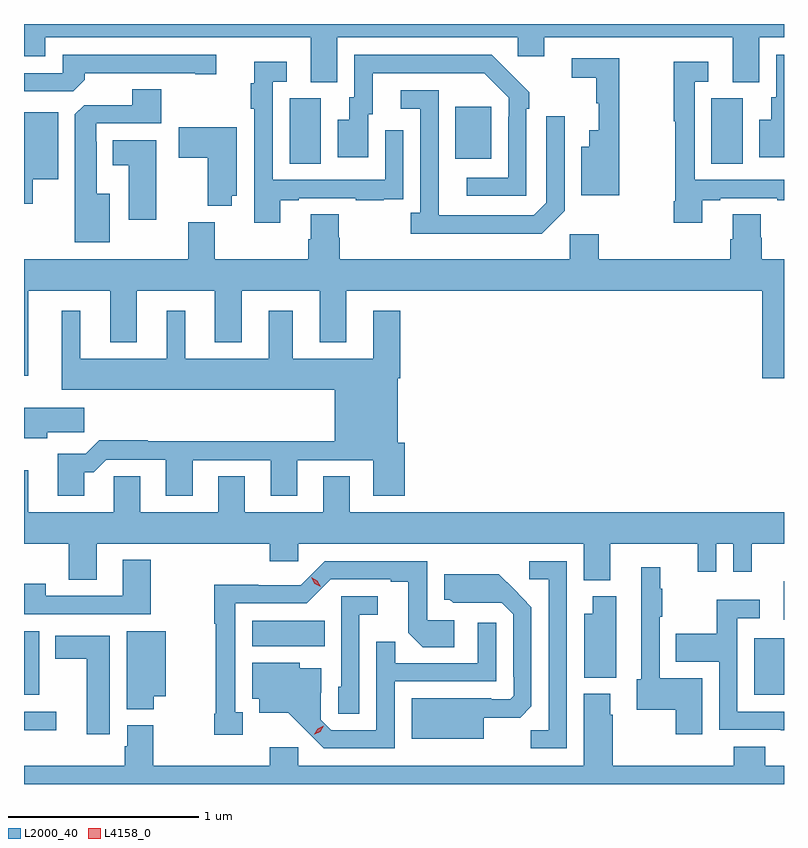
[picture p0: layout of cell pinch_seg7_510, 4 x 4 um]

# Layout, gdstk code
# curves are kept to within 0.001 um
import gdstk
lib = gdstk.Library(unit=1e-6, precision=1e-09)
def R(c, l, rs):  # rectangles x0, y0, x1, y1
    for r in rs: c.add(gdstk.rectangle(r[:2], r[2:], *l))
def P(c, l, *ps):  # polygons
    for p in ps: c.add(gdstk.Polygon(p, *l))
L2000_40 = (2000, 40)
L4158_0 = (4158, 0)

pinch_seg7_510 = lib.new_cell('pinch_seg7_510')
R(pinch_seg7_510, L2000_40, [(131.066,1060.907,131.236,1061.004), (131.066,1061.093,131.146,1061.428), (134.909,1061.093,135.066,1061.389), (132.266,1061.348,132.65,1061.482), (135.065,1061.487,135.066,1061.689), (132.464,1063.888,132.628,1064.232), (134.684,1063.888,134.848,1064.232), (133.337,1063.913,133.525,1064.188)])
P(pinch_seg7_510, L2000_40, [(132.715,1064.552),(133.665,1064.552),(133.665,1064.454),(133.804,1064.454),(133.804,1064.552),(134.795,1064.552),(134.795,1064.317),(134.935,1064.317),(134.935,1064.552),(135.066,1064.552),(135.066,1064.623),(131.066,1064.623),(131.066,1064.453),(131.179,1064.453),(131.179,1064.552),(132.575,1064.552),(132.575,1064.317),(132.715,1064.317)],
  [(131.387,1064.33),(131.387,1064.364),(131.966,1064.364),(131.966,1064.359),(132.079,1064.359),(132.079,1064.46),(131.271,1064.46),(131.271,1064.364),(131.066,1064.364),(131.066,1064.268),(131.325,1064.268)],
  [(135.066,1064.46),(135.024,1064.46),(135.024,1064.238),(134.999,1064.238),(134.999,1064.119),(134.936,1064.119),(134.936,1063.923),(135.066,1063.923)],
  [(133.71,1064.177),(133.725,1064.177),(133.725,1064.265),(133.528,1064.46),(132.804,1064.46),(132.804,1064.238),(132.779,1064.238),(132.779,1064.119),(132.716,1064.119),(132.716,1063.923),(132.877,1063.923),(132.877,1064.148),(132.901,1064.148),(132.901,1064.364),(133.489,1064.364),(133.617,1064.235),(133.617,1064.135),(133.614,1064.135),(133.614,1063.815),(133.395,1063.815),(133.395,1063.719),(133.71,1063.719)],
  [(134.2,1064.442),(133.95,1064.442),(133.95,1064.341),(134.079,1064.341),(134.079,1064.205),(134.09,1064.205),(134.09,1064.065),(134.042,1064.065),(134.042,1063.978),(134,1063.978),(134,1063.721),(134.2,1063.721)],
  [(132.415,1063.695),(132.511,1063.695),(132.511,1063.707),(132.811,1063.707),(132.811,1063.695),(132.959,1063.695),(132.959,1063.701),(133.061,1063.701),(133.061,1063.81),(133.062,1063.81),(133.062,1064.065),(132.966,1064.065),(132.966,1063.803),(132.375,1063.803),(132.375,1064.319),(132.448,1064.319),(132.448,1064.425),(132.278,1064.425),(132.278,1064.312),(132.259,1064.312),(132.259,1064.176),(132.279,1064.176),(132.279,1063.578),(132.415,1063.578)],
  [(134.635,1063.695),(134.731,1063.695),(134.731,1063.707),(135.031,1063.707),(135.031,1063.695),(135.066,1063.695),(135.066,1063.803),(134.595,1063.803),(134.595,1064.319),(134.668,1064.319),(134.668,1064.425),(134.487,1064.425),(134.487,1064.112),(134.494,1064.112),(134.494,1063.69),(134.486,1063.69),(134.486,1063.578),(134.635,1063.578)],
  [(131.518,1063.729),(131.449,1063.729),(131.449,1064.003),(131.445,1064.003),(131.445,1064.1),(131.789,1064.1),(131.789,1064.279),(131.636,1064.279),(131.636,1064.196),(131.382,1064.196),(131.333,1064.147),(131.333,1063.475),(131.518,1063.475)],
  [(133.911,1063.641),(133.911,1064.137),(133.815,1064.137),(133.815,1063.683),(133.749,1063.617),(133.249,1063.617),(133.248,1064.274),(133.05,1064.274),(133.05,1064.178),(133.152,1064.178),(133.152,1063.63),(133.101,1063.63),(133.101,1063.52),(133.79,1063.52)],
  [(131.113,1063.805),(131.245,1063.805),(131.245,1064.158),(131.066,1064.158),(131.066,1063.677),(131.113,1063.677)],
  [(132.16,1063.719),(132.187,1063.719),(132.187,1064.08),(131.88,1064.08),(131.88,1063.918),(132.032,1063.918),(132.032,1063.667),(132.16,1063.667)],
  [(131.761,1064.011),(131.534,1064.011),(131.534,1063.88),(131.618,1063.88),(131.618,1063.593),(131.761,1063.593)],
  [(135.066,1063.384),(134.948,1063.384),(134.948,1063.497),(134.943,1063.497),(134.943,1063.622),(134.795,1063.622),(134.795,1063.49),(134.783,1063.49),(134.783,1063.384),(134.09,1063.384),(134.09,1063.516),(133.938,1063.516),(133.938,1063.384),(132.728,1063.384),(132.728,1063.497),(132.723,1063.497),(132.723,1063.622),(132.575,1063.622),(132.575,1063.49),(132.563,1063.49),(132.563,1063.384),(132.07,1063.384),(132.07,1063.579),(131.93,1063.579),(131.93,1063.384),(131.066,1063.384),(131.066,1062.771),(131.089,1062.771),(131.089,1063.22),(131.519,1063.22),(131.519,1062.947),(131.659,1062.947),(131.659,1063.22),(132.071,1063.22),(132.071,1062.947),(132.211,1062.947),(132.211,1063.22),(132.623,1063.22),(132.623,1062.947),(132.763,1062.947),(132.763,1063.22),(134.951,1063.22),(134.951,1062.759),(135.066,1062.759)],
  [(131.383,1062.263),(131.432,1062.263),(131.499,1062.33),(131.813,1062.33),(131.813,1062.141),(131.953,1062.141),(131.953,1062.327),(132.365,1062.327),(132.365,1062.141),(132.505,1062.141),(132.505,1062.327),(132.905,1062.327),(132.905,1062.141),(133.07,1062.141),(133.07,1062.42),(133.033,1062.42),(133.033,1062.758),(133.046,1062.758),(133.046,1063.114),(132.905,1063.114),(132.905,1062.862),(132.481,1062.862),(132.481,1063.114),(132.353,1063.114),(132.353,1062.862),(131.914,1062.862),(131.914,1063.114),(131.816,1063.114),(131.816,1062.862),(131.362,1062.862),(131.362,1063.114),(131.264,1063.114),(131.264,1062.698),(132.701,1062.698),(132.701,1062.428),(131.717,1062.428),(131.717,1062.431),(131.462,1062.431),(131.392,1062.361),(131.243,1062.361),(131.243,1062.141),(131.383,1062.141)],
  [(131.188,1062.475),(131.383,1062.475),(131.383,1062.604),(131.066,1062.604),(131.066,1062.443),(131.188,1062.443)],
  [(134.152,1061.888),(134.612,1061.888),(134.612,1061.739),(134.709,1061.739),(134.709,1061.888),(134.799,1061.888),(134.799,1061.739),(134.897,1061.739),(134.897,1061.888),(135.066,1061.888),(135.066,1062.052),(132.781,1062.052),(132.781,1062.242),(132.641,1062.242),(132.641,1062.052),(132.229,1062.052),(132.229,1062.242),(132.089,1062.242),(132.089,1062.052),(131.677,1062.052),(131.677,1062.242),(131.538,1062.242),(131.538,1062.052),(131.089,1062.052),(131.089,1062.274),(131.066,1062.274),(131.066,1061.888),(131.302,1061.888),(131.302,1061.698),(131.449,1061.698),(131.449,1061.888),(132.359,1061.888),(132.359,1061.795),(132.51,1061.795),(132.51,1061.888),(134.012,1061.888),(134.012,1061.696),(134.152,1061.696)],
  [(131.733,1061.803),(131.585,1061.803),(131.585,1061.613),(131.181,1061.613),(131.181,1061.677),(131.066,1061.677),(131.066,1061.517),(131.733,1061.517)],
  [(133.923,1061.796),(133.725,1061.796),(133.725,1061.7),(133.827,1061.7),(133.827,1060.907),(133.732,1060.907),(133.732,1060.812),(133.923,1060.812)],
  [(132.217,1061.001),(132.178,1061.001),(132.178,1061.574),(132.555,1061.574),(132.681,1061.7),(132.995,1061.7),(132.995,1061.688),(133.089,1061.688),(133.089,1061.42),(133.165,1061.344),(133.33,1061.344),(133.33,1061.484),(133.188,1061.484),(133.188,1061.796),(132.648,1061.796),(132.522,1061.67),(132.3,1061.67),(132.3,1061.672),(132.067,1061.672),(132.067,1061.467),(132.075,1061.467),(132.075,1060.993),(132.067,1060.993),(132.067,1060.881),(132.217,1060.881)],
  [(134.635,1061.179),(134.412,1061.179),(134.412,1061.503),(134.425,1061.503),(134.425,1061.651),(134.414,1061.651),(134.414,1061.764),(134.315,1061.764),(134.315,1061.175),(134.291,1061.175),(134.291,1061.014),(134.497,1061.014),(134.497,1060.884),(134.635,1060.884)],
  [(133.486,1060.973),(133.678,1060.973),(133.737,1061.032),(133.737,1061.554),(133.565,1061.728),(133.277,1061.728),(133.277,1061.592),(133.308,1061.592),(133.324,1061.576),(133.581,1061.577),(133.641,1061.517),(133.641,1061.188),(133.644,1061.188),(133.644,1061.088),(133.626,1061.07),(133.526,1061.07),(133.526,1061.074),(133.106,1061.074),(133.106,1060.862),(133.486,1060.862)],
  [(134.182,1061.611),(134.06,1061.611),(134.06,1061.518),(134.015,1061.518),(134.015,1061.183),(134.182,1061.183)],
  [(132.831,1061.513),(132.928,1061.513),(132.928,1061.61),(132.735,1061.61),(132.735,1061.136),(132.72,1061.136),(132.72,1060.993),(132.831,1060.993)],
  [(135.066,1061.004),(134.82,1061.004),(134.82,1061.496),(134.938,1061.496),(134.938,1061.593),(134.712,1061.593),(134.712,1061.415),(134.497,1061.415),(134.497,1061.267),(134.724,1061.267),(134.724,1060.908),(135.049,1060.908),(135.049,1060.907),(135.066,1060.907)],
  [(133.017,1061.163),(133.551,1061.163),(133.551,1061.473),(133.455,1061.473),(133.455,1061.259),(133.019,1061.259),(133.019,1061.372),(132.921,1061.372),(132.921,1060.905),(132.684,1060.905),(132.627,1060.962),(132.627,1061.104),(132.631,1061.104),(132.631,1061.233),(132.516,1061.233),(132.516,1061.26),(132.266,1061.26),(132.266,1061.072),(132.305,1061.072),(132.305,1060.997),(132.457,1060.997),(132.644,1060.812),(133.017,1060.812)],
  [(131.748,1061.084),(131.812,1061.084),(131.812,1061.428),(131.606,1061.428),(131.606,1061.017),(131.748,1061.017)],
  [(131.518,1061.404),(131.231,1061.404),(131.231,1061.282),(131.396,1061.282),(131.396,1060.884),(131.518,1060.884)],
  [(135.066,1060.72),(134.966,1060.72),(134.966,1060.819),(134.801,1060.819),(134.801,1060.72),(134.165,1060.72),(134.165,1060.988),(134.152,1060.988),(134.152,1061.098),(134.012,1061.098),(134.012,1060.72),(132.51,1060.72),(132.51,1060.816),(132.359,1060.816),(132.359,1060.72),(131.745,1060.72),(131.745,1060.932),(131.609,1060.932),(131.609,1060.821),(131.597,1060.821),(131.597,1060.72),(131.066,1060.72),(131.066,1060.623),(135.066,1060.623)])
P(pinch_seg7_510, L4158_0, [(132.627,1061.66),(132.595,1061.678),(132.577,1061.71),(132.577,1061.711),(132.578,1061.711),(132.609,1061.692),(132.627,1061.66),(132.627,1061.66)],
  [(132.594,1060.884),(132.594,1060.885),(132.612,1060.914),(132.644,1060.929),(132.644,1060.929),(132.644,1060.929),(132.626,1060.899),(132.595,1060.884)])

lib.write_gds('pinch_seg7_510.gds')
